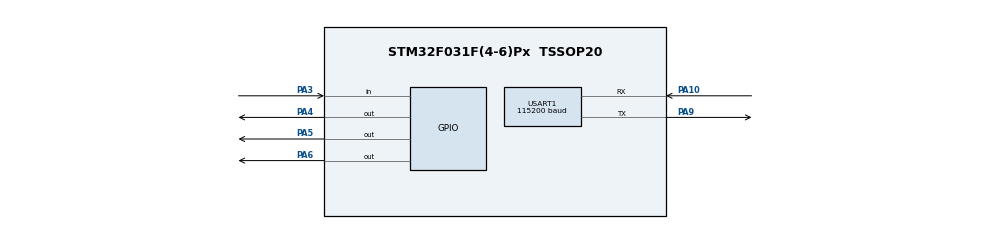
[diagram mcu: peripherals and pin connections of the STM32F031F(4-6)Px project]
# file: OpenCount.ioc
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Mcu.Family=STM32F0
Mcu.Name=STM32F031F(4-6)Px
Mcu.Package=TSSOP20
PA10.Mode=Asynchronous
PA10.Signal=USART1_RX
PA13.Mode=Serial_Wire
PA13.Signal=SYS_SWDIO
PA14.Mode=Serial_Wire
PA14.Signal=SYS_SWCLK
PA3.Signal=GPIO_Input
PA4.Signal=GPIO_Output
PA5.Signal=GPIO_Output
PA6.Signal=GPIO_Output
PA9.Mode=Asynchronous
PA9.Signal=USART1_TX
ProjectManager.HeapSize=0x200
ProjectManager.StackSize=0x400
ProjectManager.TargetToolchain=STM32CubeIDE
USART1.BaudRate=115200
USART1.VirtualMode-Asynchronous=VM_ASYNC
VP_RTC_VS_RTC_Activate.Mode=RTC_Enabled
VP_RTC_VS_RTC_Calendar.Mode=RTC_Calendar
board=custom

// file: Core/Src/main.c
/* USER CODE BEGIN Header */
/**
  ******************************************************************************
  * @file           : main.c
  * @brief          : Main program body
  ******************************************************************************
  * @attention
  *
  * <h2><center>&copy; Copyright (c) 2021 STMicroelectronics.
  * All rights reserved.</center></h2>
  *
  * This software component is licensed by ST under BSD 3-Clause license,
  * the "License"; You may not use this file except in compliance with the
  * License. You may obtain a copy of the License at:
  *                        opensource.org/licenses/BSD-3-Clause
  *
  ******************************************************************************
  */
/* USER CODE END Header */
#include "main.h"
#include "rtc.h"
#include "usart.h"
#include "gpio.h"

/* USER CODE BEGIN Includes */
#include "./FLASH_PAGE/FLASH_PAGE.h"

uint32_t *data = (uint32_t*) "Hello World";
uint32_t Rx_Data[4];
char string[30];
char tempString[30];
/* USER CODE END Includes */

/* USER CODE BEGIN PV */
uint32_t count=0;
uint32_t timecount=0;
uint32_t buzzcount=0;
/* USER CODE END PV */

void SystemClock_Config(void);

/* USER CODE BEGIN 0 */

void WriteSet(int opencount) {
	//sprintf(*tempString,"%s%s%s%s%s",dataInt1,dataInt2,dataInt3,dataInt4,dataInt5);
	sprintf(tempString, "%4d", opencount);
	Flash_Write_Data(0x08007C00, tempString);
}
void KeepSet() {
	WriteSet(count);
}
void ReadSet() {
	Flash_Read_Data(0x08007C00, Rx_Data);
	Convert_To_Str(Rx_Data, string);
	int xx[1] = { 0 };
	int xflag = 0;
	for (int x = 0; x < 1; x = x + 4) {
		char temp[5];
		temp[0] = string[x];
		temp[1] = string[x + 1];
		temp[2] = string[x + 2];
		temp[3] = string[x + 3];
		temp[4] = '\0';

		xx[xflag++] = atoi(temp);
		HAL_Delay(1);
	}
	count = xx[0];

}

/* USER CODE END 0 */

int main(void)
{

  /* MCU Configuration--------------------------------------------------------*/

  /* Reset of all peripherals, Initializes the Flash interface and the Systick. */
  HAL_Init();

  /* Configure the system clock */
  SystemClock_Config();

  /* Initialize all configured peripherals */
  MX_GPIO_Init();
  MX_RTC_Init();
  MX_USART1_UART_Init();
  /* USER CODE BEGIN 2 */
  /*
   *
   */
  //count=0;
  //KeepSet();
  ReadSet();
  count++;
  KeepSet();

  /* USER CODE END 2 */

  /* Infinite loop */
  /* USER CODE BEGIN WHILE */
  while (1)
  {

	  if(timecount>=86400){//一天秒數
		  timecount=0;
		  ReadSet();
		  count++;
		  KeepSet();
	  }else{
		  HAL_GPIO_TogglePin(GPIOA,GPIO_PIN_4);
		  HAL_Delay(1000);
		  timecount++;
	  }
	  if(count>=(365*3)){//三年次數
		  if(buzzcount>=20){//20S Sound 200ms
			  HAL_GPIO_WritePin(GPIOA,GPIO_PIN_5,GPIO_PIN_SET);
			  HAL_GPIO_WritePin(GPIOA,GPIO_PIN_6,GPIO_PIN_RESET);
			  HAL_Delay(200);
			  HAL_GPIO_WritePin(GPIOA,GPIO_PIN_5,GPIO_PIN_RESET);
			  HAL_GPIO_WritePin(GPIOA,GPIO_PIN_6,GPIO_PIN_SET);
			  buzzcount=0;
		  }else{
			  buzzcount++;
		  }
	  }
    /* USER CODE END WHILE */

  }
}

void SystemClock_Config(void)
{
  RCC_OscInitTypeDef RCC_OscInitStruct = {0};
  RCC_ClkInitTypeDef RCC_ClkInitStruct = {0};
  RCC_PeriphCLKInitTypeDef PeriphClkInit = {0};

  /** Initializes the RCC Oscillators according to the specified parameters
  * in the RCC_OscInitTypeDef structure.
  */
  RCC_OscInitStruct.OscillatorType = RCC_OSCILLATORTYPE_HSI|RCC_OSCILLATORTYPE_LSI;
  RCC_OscInitStruct.HSIState = RCC_HSI_ON;
  RCC_OscInitStruct.HSICalibrationValue = RCC_HSICALIBRATION_DEFAULT;
  RCC_OscInitStruct.LSIState = RCC_LSI_ON;
  RCC_OscInitStruct.PLL.PLLState = RCC_PLL_NONE;
  if (HAL_RCC_OscConfig(&RCC_OscInitStruct) != HAL_OK)
  {
    Error_Handler();
  }
  /** Initializes the CPU, AHB and APB buses clocks
  */
  RCC_ClkInitStruct.ClockType = RCC_CLOCKTYPE_HCLK|RCC_CLOCKTYPE_SYSCLK
                              |RCC_CLOCKTYPE_PCLK1;
  RCC_ClkInitStruct.SYSCLKSource = RCC_SYSCLKSOURCE_HSI;
  RCC_ClkInitStruct.AHBCLKDivider = RCC_SYSCLK_DIV1;
  RCC_ClkInitStruct.APB1CLKDivider = RCC_HCLK_DIV1;

  if (HAL_RCC_ClockConfig(&RCC_ClkInitStruct, FLASH_LATENCY_0) != HAL_OK)
  {
    Error_Handler();
  }
  PeriphClkInit.PeriphClockSelection = RCC_PERIPHCLK_USART1|RCC_PERIPHCLK_RTC;
  PeriphClkInit.Usart1ClockSelection = RCC_USART1CLKSOURCE_PCLK1;
  PeriphClkInit.RTCClockSelection = RCC_RTCCLKSOURCE_LSI;
  if (HAL_RCCEx_PeriphCLKConfig(&PeriphClkInit) != HAL_OK)
  {
    Error_Handler();
  }
}

void Error_Handler(void)
{
}

/************************ (C) COPYRIGHT STMicroelectronics *****END OF FILE****/
